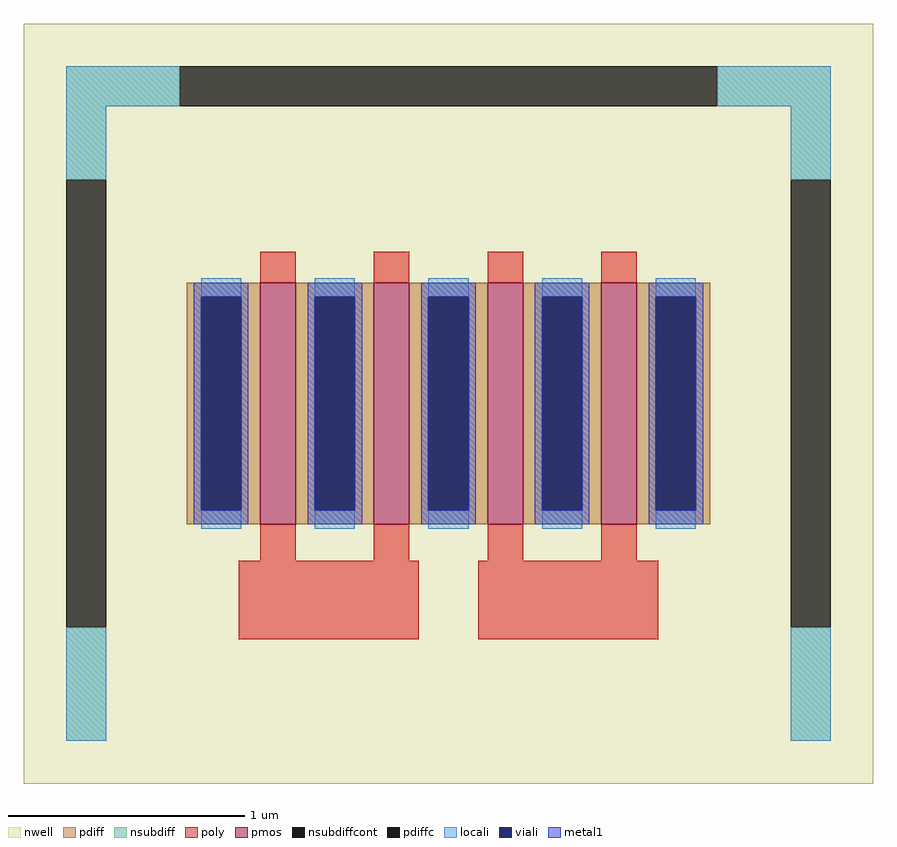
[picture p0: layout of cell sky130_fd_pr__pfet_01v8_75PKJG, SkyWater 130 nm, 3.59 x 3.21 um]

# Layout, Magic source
magic
tech sky130A
magscale 1 2
<< nwell >>
rect -359 -321 359 321
<< pmos >>
rect -159 -102 -129 102
rect -63 -102 -33 102
rect 33 -102 63 102
rect 129 -102 159 102
<< pdiff >>
rect -221 90 -159 102
rect -221 -90 -209 90
rect -175 -90 -159 90
rect -221 -102 -159 -90
rect -129 90 -63 102
rect -129 -90 -113 90
rect -79 -90 -63 90
rect -129 -102 -63 -90
rect -33 90 33 102
rect -33 -90 -17 90
rect 17 -90 33 90
rect -33 -102 33 -90
rect 63 90 129 102
rect 63 -90 79 90
rect 113 -90 129 90
rect 63 -102 129 -90
rect 159 90 221 102
rect 159 -90 175 90
rect 209 -90 221 90
rect 159 -102 221 -90
<< pdiffc >>
rect -209 -90 -175 90
rect -113 -90 -79 90
rect -17 -90 17 90
rect 79 -90 113 90
rect 175 -90 209 90
<< nsubdiff >>
rect -323 251 -227 285
rect 227 251 323 285
rect -323 189 -289 251
rect 289 189 323 251
rect -323 -285 -289 -189
rect 289 -285 323 -189
<< nsubdiffcont >>
rect -227 251 227 285
rect -323 -189 -289 189
rect 289 -189 323 189
<< poly >>
rect -159 102 -129 128
rect -63 102 -33 128
rect 33 102 63 128
rect 129 102 159 128
rect -159 -133 -129 -102
rect -63 -133 -33 -102
rect 33 -133 63 -102
rect 129 -133 159 -102
rect -177 -199 -25 -133
rect 25 -199 177 -133
<< locali >>
rect -323 251 -227 285
rect 227 251 323 285
rect -323 189 -289 251
rect 289 189 323 251
rect -209 90 -175 106
rect -209 -106 -175 -90
rect -113 90 -79 106
rect -113 -106 -79 -90
rect -17 90 17 106
rect -17 -106 17 -90
rect 79 90 113 106
rect 79 -106 113 -90
rect 175 90 209 106
rect 175 -106 209 -90
rect -323 -285 -289 -189
rect 289 -285 323 -189
<< viali >>
rect -209 -90 -175 90
rect -113 -90 -79 90
rect -17 -90 17 90
rect 79 -90 113 90
rect 175 -90 209 90
<< metal1 >>
rect -215 90 -169 102
rect -215 -90 -209 90
rect -175 -90 -169 90
rect -215 -102 -169 -90
rect -119 90 -73 102
rect -119 -90 -113 90
rect -79 -90 -73 90
rect -119 -102 -73 -90
rect -23 90 23 102
rect -23 -90 -17 90
rect 17 -90 23 90
rect -23 -102 23 -90
rect 73 90 119 102
rect 73 -90 79 90
rect 113 -90 119 90
rect 73 -102 119 -90
rect 169 90 215 102
rect 169 -90 175 90
rect 209 -90 215 90
rect 169 -102 215 -90
<< properties >>
string gencell sky130_fd_pr__pfet_01v8
string FIXED_BBOX -306 -268 306 268
string parameters w 1.02 l 0.15 m 1 nf 4 diffcov 100 polycov 100 guard 1 glc 1 grc 1 gtc 1 gbc 0 tbcov 100 rlcov 100 topc 0 botc 1 poverlap 0 doverlap 1 lmin 0.15 wmin 0.42 compatible {sky130_fd_pr__pfet_01v8  sky130_fd_pr__pfet_01v8_lvt sky130_fd_pr__pfet_01v8_hvt  sky130_fd_pr__pfet_g5v0d10v5} full_metal 1 viasrc 100 viadrn 100 viagate 100 viagb 0 viagr 0 viagl 0 viagt 0
string library sky130
<< end >>
